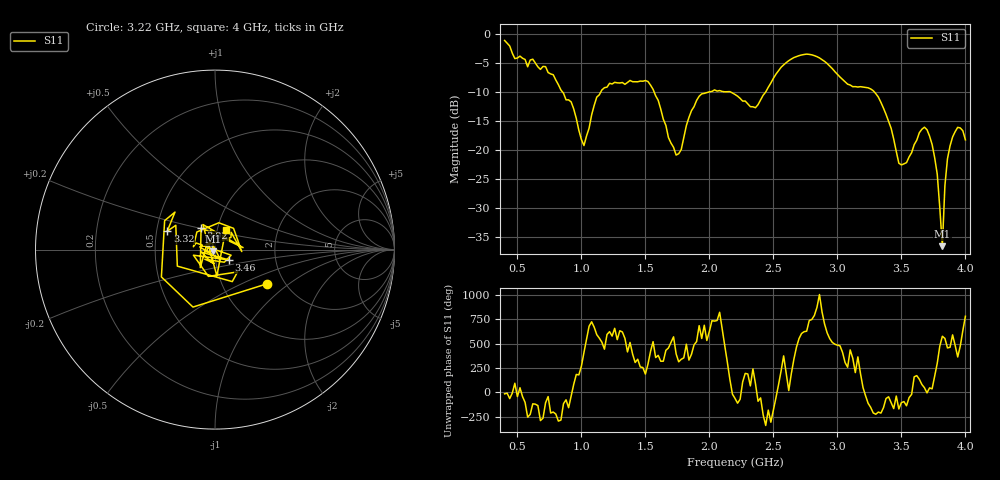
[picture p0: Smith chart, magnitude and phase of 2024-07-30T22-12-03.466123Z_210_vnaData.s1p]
!Created with skrf (http://scikit-rf.org).
# Hz S RI R 50.0
!freq ReS11 ImS11
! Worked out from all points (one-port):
!   181 points, 400 MHz to 4 GHz, reference 50 ohm
!   lowest |S11| = -36.5 dB at 3.82 GHz (marker M1), VSWR 1.03, Z = 48.8 - j0.866 ohm
!   |S11| at or under -10 dB: 851.9 MHz to 1.152 GHz (300.1 MHz wide, 29.9 % of centre); 1.568 GHz to 1.999 GHz (431.3 MHz wide, 24.2 % of centre); 3.288 GHz to end of sweep (the widest 3 of 4)
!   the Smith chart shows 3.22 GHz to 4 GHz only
!   S11 on the Smith chart (normalised r, x): 3.22 GHz: 1.62, -0.70; 3.32 GHz: 0.57, +0.13; 3.46 GHz: 1.16, -0.14; 3.92 GHz: 0.83, +0.21; 4 GHz: 1.10, +0.24
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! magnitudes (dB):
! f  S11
! 400 MHz  -1.2
! 720 MHz  -5.7
! 860 MHz  -10.2
! 920 MHz  -11.7
! 1.02 GHz  -19.2
! 1.12 GHz  -10.9
! 1.3 GHz  -8.5
! 1.52 GHz  -8.2
! 1.76 GHz  -20.6
! 1.92 GHz  -10.8
! 2.2 GHz  -10.4
! 2.36 GHz  -12.7
! 2.66 GHz  -4.1
! 2.84 GHz  -3.9
! 3.1 GHz  -8.8
! 3.22 GHz  -9.2
! 3.32 GHz  -10.9
! 3.46 GHz  -20.2
! 3.5 GHz  -22.5
! 3.56 GHz  -21.2
! 3.66 GHz  -16.4
! 3.72 GHz  -17.6
! 3.78 GHz  -24.1
! 3.82 GHz  -36.5
! 3.84 GHz  -26.1
! 3.86 GHz  -21.5
! 3.92 GHz  -16.8
! 4 GHz  -18.2
